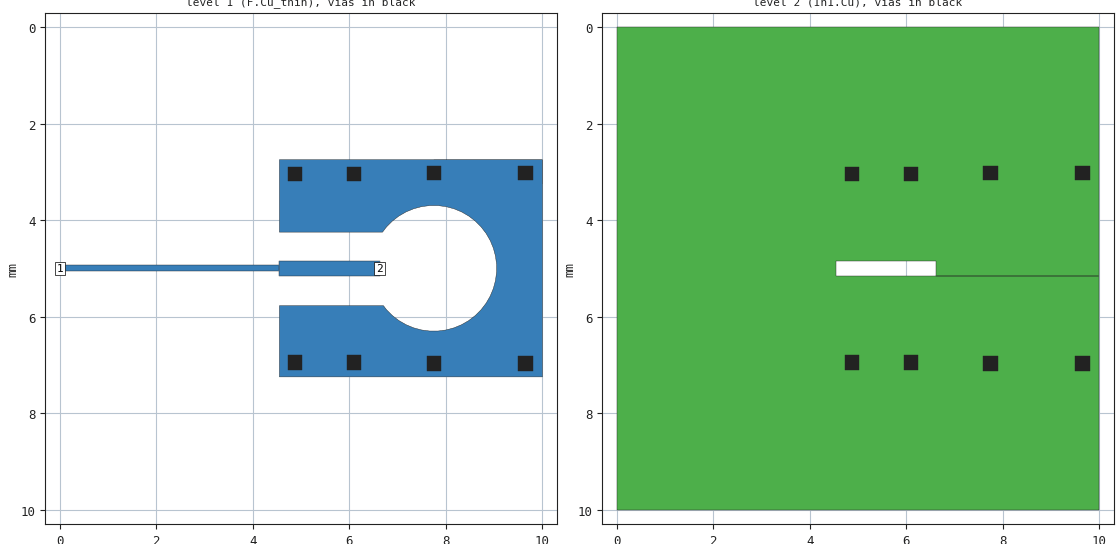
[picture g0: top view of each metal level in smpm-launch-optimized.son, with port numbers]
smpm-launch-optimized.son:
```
FTYP SONPROJ 19 ! Sonnet Project File
VER 18.56
HEADER
LIC antikernel2.1.52448
DAT 12/26/2023 08:04:44
BUILT_BY_CREATED xgeom 18.52 11/18/2021 20:28:07
BUILT_BY_SAVED sonnet 18.56
MDATE 12/18/2023 02:05:59
HDATE 12/18/2023 02:05:59
END HEADER
DIM
ANG DEG
CAP PF
CON /OH
FREQ GHZ
IND NH
LNG MM
RES OH
END DIM
CONTROL
VARSWP
OPTIONS  -dj
SPEED 0
CACHE_ABS 2
Q_ACC N
END CONTROL
GEO
SYM
TMET "Free Space" 0 FREESPACE 376.7303136 0 0 0
BMET "Free Space" 0 FREESPACE 376.7303136 0 0 0
MET "Copper_1oz_thin" 1 NOR 58000000 0.5 0.035 
MET "Copper_1oz_thick" 2 TMM 58000000 0.5 0.035 2
MET "Copper_1oz_thick_down" 3 TMM 58000000 0.5 0.035 2 CDVY TDWN
MET "Copper_0.5oz_thin" 4 NOR 58000000 0.5 0.017 
MET "Copper_0.5oz_thick" 12 TMM 58000000 0.5 0.017 2
MET "Copper_0.5oz_thick_down" 5 TMM 58000000 0.5 0.017 2 CDVY TDWN
BOX 12 10 10 2000 2000 20 0
      5 1 1 0 0 0 0 "Air"
      0.04 3.5 1 0.025 0 0 0 "Soldermask"
      0.071 3.9 1 0.008 0 0 0 "TU-872_SLK"
      0.1 3.9 1 0.008 0 0 0 "TU-872_SLK"
      0.119 3.9 1 0.008 0 0 0 "TU-872_SLK"
      0.1 4.49 1 0.016 0 0 0 "Shengyi_S1000-2M"
      0.5 4.49 1 0.016 0 0 0 "Shengyi_S1000-2M"
      0.1 4.49 1 0.016 0 0 0 "Shengyi_S1000-2M"
      0.119 3.9 1 0.008 0 0 0 "TU-872_SLK"
      0.1 3.9 1 0.008 0 0 0 "TU-872_SLK"
      0.071 3.9 1 0.008 0 0 0 "TU-872_SLK"
      0.04 3.5 1 0.025 0 0 0 "Soldermask"
      5 1 1 0 0 0 0 "Air"
TECHLAY METAL F.Cu_thin <UNSPECIFIED> -1 -65534 CAD F.Cu_thin drawing 
1 0 0 N 293 1 1 100 100 0 0 0 Y
END
END
TECHLAY METAL F.Cu_thick <UNSPECIFIED> -2 -65534 CAD F.Cu_thick drawing 
1 0 1 N 298 1 1 100 100 0 0 0 Y
END
END
TECHLAY VIA Via1 <UNSPECIFIED> -13 -65534 CAD Via1 drawing 
VIA POLYGON
1 0 -1 N 300 1 1 100 100 0 0 0 Y
TOLEVEL 10 RING NOCOVERS
END
END
TECHLAY METAL In1.Cu <UNSPECIFIED> -3 -65534 CAD In1.Cu drawing 
2 0 0 N 303 1 1 100 100 0 0 0 Y
END
END
TECHLAY METAL In2.Cu_thin <UNSPECIFIED> -4 -65534 CAD In2.Cu drawing 
3 0 3 N 306 1 1 100 100 0 0 0 Y
END
END
TECHLAY METAL In2.Cu_thick <UNSPECIFIED> -5 -65534 CAD In2.Cu_thick drawing 
3 0 4 N 308 1 1 100 100 0 0 0 Y
END
END
TECHLAY METAL In3.Cu <UNSPECIFIED> -6 -65534 CAD In3.Cu drawing 
4 0 0 N 311 1 1 100 100 0 0 0 Y
END
END
TECHLAY METAL In4.Cu <UNSPECIFIED> -7 -65534 CAD In4.Cu drawing 
5 0 0 N 314 1 1 100 100 0 0 0 Y
END
END
TECHLAY METAL In5.Cu <UNSPECIFIED> -14 -65534 
6 0 0 N 317 1 1 100 100 0 0 0 Y
END
END
TECHLAY METAL In6.Cu <UNSPECIFIED> -15 -65534 
7 0 0 N 320 1 1 100 100 0 0 0 Y
END
END
TECHLAY METAL In7.Cu_thin <UNSPECIFIED> -8 -65534 CAD In5.Cu drawing 
8 0 3 N 323 1 1 100 100 0 0 0 Y
END
END
TECHLAY METAL In7.Cu_thick <UNSPECIFIED> -9 -65534 CAD In5.Cu_thick drawing 
8 0 5 N 325 1 1 100 100 0 0 0 Y
END
END
TECHLAY METAL In8.Cu <UNSPECIFIED> -10 -65534 CAD In6.Cu drawing 
9 0 0 N 328 1 1 100 100 0 0 0 Y
END
END
TECHLAY METAL B.Cu_thin <UNSPECIFIED> -11 -65534 CAD B.Cu_thin drawing 
10 0 0 N 331 1 1 100 100 0 0 0 Y
END
END
TECHLAY METAL B.Cu_thick <UNSPECIFIED> -12 -65534 CAD B.Cu_thick drawing 
10 0 2 N 333 1 1 100 100 0 0 0 Y
END
END
VALVAR CORE_ER NONE "table1(\"../../sata-sniffer/sims/core_er.csv\",FREQ)" "Variable set in material file"
VALVAR CORE_DF NONE "table1(\"../../sata-sniffer/sims/core_df.csv\",FREQ)" "Variable set in material file"
VALVAR PREPREG_DF NONE "table1(\"../../sata-sniffer/sims/prepreg_df.csv\",FREQ)" "Variable set in material file"
VALVAR PREPREG_ER NONE "table1(\"../../sata-sniffer/sims/prepreg_er.csv\",FREQ)" "Variable set in material file"
DIM STD XDIR 1
POS 2.692021402 -0.257118549
NOM 3.2
REF1 POLY 210 1
3
REF2 POLY 206 1
3
END
DIM STD XDIR 1
POS 0.3773719277 -1.37940366
NOM 1.125
REF1 POLY 222 1
1
REF2 POLY 206 1
2
END
DIM STD YDIR 1
POS -0.2239792115 0.2605323305
NOM 0.3
REF1 POLY 222 1
0
REF2 POLY 222 1
3
END
DIM STD YDIR 1
POS -0.5288179821 0.09133971471
NOM 0.123
REF1 POLY 235 1
1
REF2 POLY 235 1
2
END
DIM STD XDIR -1
POS -1.37511886 -0.1869319213
NOM 2.075
REF1 POLY 222 1
1
REF2 POLY 222 1
0
END
DIM STD XDIR -1
POS -1.640581911 -0.07865093966
NOM 2.075
REF1 POLY 277 1
8
REF2 POLY 277 1
7
END
DIM STD YDIR 1
POS 0.1582795572 0.1658545027
NOM 0.3
REF1 POLY 277 1
8
REF2 POLY 277 1
5
END
DIM STD YDIR 1
POS -0.1733525823 0.5225262621
NOM 0.625
REF1 POLY 222 1
3
REF2 POLY 210 1
47
END
LORGN 0 10 U 
POR1 CUP Auto
GNDREF AUTO
TERMW FEED
POLY 222 1
1
2 50 0 0 0 6.625 5 
CUPGRP "Auto" LOCAL
ID 295
END
POR1 BOX
POLY 235 1
3
1 50 0 0 0 0 5 
NUM 13
1 5 0 N 206 1 1 100 100 0 0 0 Y
TLAYNAM F.Cu_thin INH
10 2.75
10 3.25
7.75 3.25
7.75 2.75
10 2.75
END
1 50 0 N 210 1 1 100 100 0 0 0 Y
TLAYNAM F.Cu_thin INH
10 7.25
10 2.75
7.8352075 2.75
4.55 2.75
4.55 4.25
6.68688 4.25
6.77051 4.1410125
6.8910125 4.02051
7.02621 3.91677
7.17379 3.8315625
7.3312325 3.76635
7.4958375 3.7222425
7.6647925 3.7
7.8352075 3.7
8.0041625 3.7222425
8.1687675 3.76635
8.32621 3.8315625
8.47379 3.91677
8.6089875 4.02051
8.72949 4.1410125
8.83323 4.27621
8.9184375 4.42379
8.98365 4.5812325
9.0277575 4.7458375
9.05 4.9147925
9.05 5.0852075
9.0277575 5.2541625
8.98365 5.4187675
8.9184375 5.57621
8.83323 5.72379
8.72949 5.8589875
8.6089875 5.97949
8.47379 6.08323
8.32621 6.1684375
8.1687675 6.23365
8.0041625 6.2777575
7.8352075 6.3
7.6647925 6.3
7.6647925 6.3
7.6647925 6.3
7.4958375 6.2777575
7.3312325 6.23365
7.17379 6.1684375
7.02621 6.08323
6.8910125 5.97949
6.77051 5.8589875
6.706065 5.775
4.55 5.775
4.55 7.25
10 7.25
END
1 5 0 N 222 1 1 100 100 0 0 0 Y
TLAYNAM F.Cu_thin INH
4.55 4.85
6.625 4.85
6.625 5.15
4.55 5.15
4.55 4.85
END
1 5 0 N 235 1 1 100 100 0 0 0 Y
TLAYNAM F.Cu_thin INH
0 4.9385
4.55 4.9385
4.55 5.0615
0 5.0615
0 4.9385
END
VIA POLYGON
1 5 -1 N 227 1 1 100 100 0 0 0 Y
TOLEVEL 10 RING NOCOVERS
TLAYNAM Via1 INH
4.725 7.1
5.025 7.1
5.025 6.8
4.725 6.8
4.725 7.1
END
VIA POLYGON
1 5 -1 N 228 1 1 100 100 0 0 0 Y
TOLEVEL 10 RING NOCOVERS
TLAYNAM Via1 INH
5.95 7.1
6.25 7.1
6.25 6.8
5.95 6.8
5.95 7.1
END
VIA POLYGON
1 5 -1 N 231 1 1 100 100 0 0 0 Y
TOLEVEL 10 RING NOCOVERS
TLAYNAM Via1 INH
9.5 7.125
9.8 7.125
9.8 6.825
9.5 6.825
9.5 7.125
END
VIA POLYGON
1 5 -1 N 233 1 1 100 100 0 0 0 Y
TOLEVEL 10 RING NOCOVERS
TLAYNAM Via1 INH
7.6 7.125
7.9 7.125
7.9 6.825
7.6 6.825
7.6 7.125
END
VIA POLYGON
1 5 -1 N 254 1 1 100 100 0 0 0 Y
TOLEVEL 10 RING NOCOVERS
TLAYNAM Via1 INH
7.6 2.875
7.9 2.875
7.9 3.175
7.6 3.175
7.6 2.875
END
VIA POLYGON
1 5 -1 N 255 1 1 100 100 0 0 0 Y
TOLEVEL 10 RING NOCOVERS
TLAYNAM Via1 INH
5.95 2.9
6.25 2.9
6.25 3.2
5.95 3.2
5.95 2.9
END
VIA POLYGON
1 5 -1 N 256 1 1 100 100 0 0 0 Y
TOLEVEL 10 RING NOCOVERS
TLAYNAM Via1 INH
4.725 2.9
5.025 2.9
5.025 3.2
4.725 3.2
4.725 2.9
END
VIA POLYGON
1 5 -1 N 257 1 1 100 100 0 0 0 Y
TOLEVEL 10 RING NOCOVERS
TLAYNAM Via1 INH
9.5 2.875
9.8 2.875
9.8 3.175
9.5 3.175
9.5 2.875
END
2 12 0 N 277 1 1 100 100 0 0 0 Y
TLAYNAM In1.Cu INH
10 0
0 0
0 10
10 10
10 5.15
6.625 5.15
4.55 5.15
4.55 4.85
6.625 4.85
6.625 5.15
10 5.15
10 0
END
END GEO
OPT
MAX 100
END OPT
VARSWP
ENABLED Y
FREQ Y AY ABS_ENTRY 0.01 16.0 -1 300 
END
END VARSWP
```
